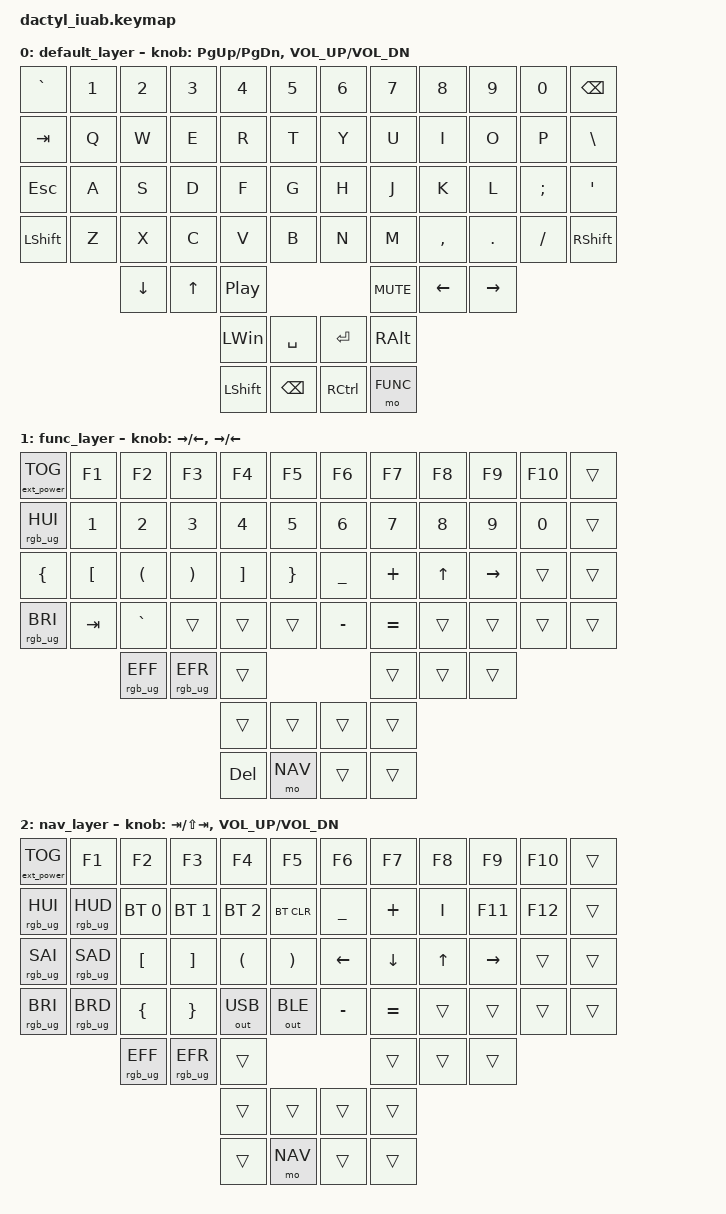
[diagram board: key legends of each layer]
/*
 * Copyright (c) 2020 The ZMK Contributors
 *
 * SPDX-License-Identifier: MIT
 */

#include <behaviors.dtsi>
#include <dt-bindings/zmk/keys.h>
#include <dt-bindings/zmk/bt.h>
#include <dt-bindings/zmk/outputs.h>
#include <dt-bindings/zmk/rgb.h>
#include <dt-bindings/zmk/ext_power.h>

#define DEFAULT 0
#define FUNC    1
#define NAV     2

/ {
    behaviors {
        hm: homerow_mods {
            compatible = "zmk,behavior-hold-tap";
            label = "homerow mods";
            #binding-cells = <2>;
            tapping-term-ms = <225>;
            flavor = "tap-preferred";
            bindings = <&kp>, <&kp>;
        };

        sm1: supermods {
            compatible = "zmk,behavior-sensor-rotate-key-press";
            label = "encoder supermod1";
            #sensor-binding-cells = <2>;
            modifier-key = <LWIN>;
            mod-timeout-ms = <600>;
        };

        sm2: supermods {
            compatible = "zmk,behavior-sensor-rotate-key-press";
            label = "encoder supermod2";
            #sensor-binding-cells = <2>;
            modifier-key = <LSHIFT>;
            mod-timeout-ms = <600>;
        };

        sm3: supermods {
            compatible = "zmk,behavior-sensor-rotate-key-press";
            label = "encoder supermod3";
            #sensor-binding-cells = <2>;
            modifier-key = <RALT>;
            mod-timeout-ms = <600>;
        };

        hlm: highlightmods {
            compatible = "zmk,behavior-sensor-rotate-key-press";
            label = "encoder highlighter";
            #sensor-binding-cells = <2>;
            modifier-key = <LSHFT>;
            mod-timeout-ms = <500>;
        };
    };
};


/ {
	keymap {
		compatible = "zmk,keymap";

		default_layer {
			bindings = <
    &kp GRAVE  &kp N1  &kp N2  &kp N3  &kp N4    &kp N5           &kp N6  &kp N7  &kp N8   &kp N9  &kp N0   &kp BSPC
    &kp TAB    &kp Q   &kp W   &kp E   &kp R     &kp T            &kp Y   &kp U   &kp I    &kp O   &kp P    &kp BSLH
    &kp ESC    &kp A   &kp S   &kp D   &kp F     &kp G            &kp H   &kp J   &kp K    &kp L   &kp SEMI &kp SQT
    &kp LSHFT  &kp Z   &kp X   &kp C   &kp V     &kp B            &kp N   &kp M   &kp CMMA &kp DOT &kp FSLH &kp RSHFT
                       &kp DOWN &kp UP           &kp C_PP         &kp C_MUTE      &kp LEFT &kp RIGHT
                                      &kp LWIN   &kp SPACE        &kp RET   &kp RALT 
                                      &kp LSHIFT &kp BSPC         &kp RCTRL &mo FUNC
			>;

			sensor-bindings = <&inc_dec_kp PG_UP PG_DN &inc_dec_kp C_VOL_UP C_VOL_DN>;
		};

		func_layer {
			bindings = <
    &ext_power EP_TOG &kp F1         &kp F2       &kp F3       &kp F4        &kp F5          &kp F6    &kp F7    &kp F8   &kp F9    &kp F10  &trans
    &rgb_ug RGB_HUI &kp N1           &kp N2       &kp N3       &kp N4        &kp N5          &kp N6    &kp N7    &kp N8   &kp N9    &kp N0   &trans
    &kp LBRC        &kp LBKT         &kp LPAR     &kp RPAR     &kp RBKT      &kp RBRC        &kp UNDER &kp PLUS  &kp UP   &kp RIGHT &trans   &trans
    &rgb_ug RGB_BRI &kp TAB          &kp GRAVE    &trans       &trans        &trans          &kp MINUS &kp EQUAL &trans   &trans    &trans   &trans
               &rgb_ug RGB_EFF &rgb_ug RGB_EFR   &trans                                      &trans          &trans &trans
                                       &trans     &trans                                     &trans     &trans
                                       &kp DELETE &mo NAV                                    &trans     &trans
			>;

			sensor-bindings = <&sm3 RIGHT LEFT &sm2 RIGHT LEFT>;
		};

		nav_layer {
			bindings = <
    &ext_power EP_TOG &kp F1 &kp F2  &kp F3   &kp F4  &kp F5                                 &kp F6    &kp F7    &kp F8   &kp F9    &kp F10  &trans
    &rgb_ug RGB_HUI &rgb_ug RGB_HUD  &bt BT_SEL 0 &bt BT_SEL 1 &bt BT_SEL 2  &bt BT_CLR      &kp UNDER &kp PLUS  &kp I    &kp F11   &kp F12  &trans
    &rgb_ug RGB_SAI &rgb_ug RGB_SAD  &kp LBKT     &kp RBKT     &kp LPAR      &kp RPAR        &kp LEFT  &kp DOWN  &kp UP   &kp RIGHT &trans   &trans
    &rgb_ug RGB_BRI &rgb_ug RGB_BRD  &kp LBRC     &kp RBRC     &out OUT_USB &out OUT_BLE     &kp MINUS &kp EQUAL &trans   &trans    &trans   &trans
               &rgb_ug RGB_EFF &rgb_ug RGB_EFR   &trans                                      &trans          &trans &trans
                                       &trans     &trans                                     &trans     &trans
                                       &trans     &mo NAV                                    &trans     &trans
			>;

			sensor-bindings = <&sm1 TAB LS(TAB) &inc_dec_kp C_VOL_UP C_VOL_DN>;
		};

	};
};
